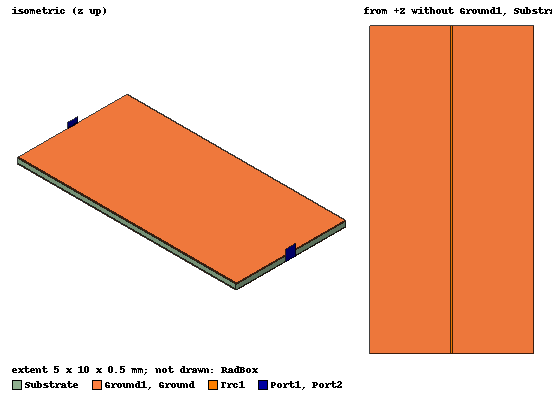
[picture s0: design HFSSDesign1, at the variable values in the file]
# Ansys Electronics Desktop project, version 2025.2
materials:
  vacuum: permittivity=1
  Isola I-Speed IS (R): permittivity=3.3 dielectric_loss_tangent=0.0064
  Krempel Akaflex PCL (tm): permittivity=3.3 dielectric_loss_tangent=0.0052
  Material1: permittivity=3.3 dielectric_loss_tangent=0.003
  copper: permeability=0.999991 conductivity=58000000
  air: permittivity=1.0006 permeability=1.0000004

design HFSSDesign1 (HFSS, HFSS Terminal Network, model units mm)
options: Calculate_Lossy_Dielectrics
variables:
  W_trace = 0.09mm
  d_separation = 1mm
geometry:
  Ground [copper] = box(corner=(0mm, 0mm, 0mm), size=(5mm, 10mm, 0.02mm))
  RadBox [air] = box(corner=(-10mm, 0mm, 0mm), size=(25mm, 10mm, 10mm))
  Port1 = rectangle(corner=(2.5mm-2.5*W_trace, 0mm, 0mm), z_size=0.5mm, x_size=5*W_trace)
  Port2 = rectangle(corner=(2.5mm-2.5*W_trace, 10mm, 0mm), z_size=0.5mm, x_size=5*W_trace)
  Substrate [Material1] = box(corner=(0mm, 0mm, 0.02mm), size=(5mm, 10mm, 0.22mm))
  Trace1 = box(corner=(2.5mm-W_trace/2, 0mm, 0.12mm), size=(W_trace, 10mm, 0.02mm))
  Substrate.subtract(Trace1)
  Trc1 [copper] = box(corner=(2.5mm-W_trace/2, 0mm, 0.12mm), size=(W_trace, 10mm, 0.02mm))
  Ground1 [copper] = box(corner=(0mm, 0mm, 0.24mm), size=(5mm, 10mm, 0.02mm))
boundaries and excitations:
  Rad1: Radiation Objects=RadBox
  Trc1_T1: Terminal port=1 Faces=Trc1.face(-y) TerminalResistance=50ohm
  Trc1_T2: Terminal port=2 Faces=Trc1.face(+y) TerminalResistance=50ohm
  1: Wave Port Faces=Port1.face WavePortType=Terminal NumModes=1 SpecifiedWaveDirectionFlip
  2: Wave Port Faces=Port2.face WavePortType=Terminal NumModes=1
  reference conductors: Ground, Ground1
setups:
  Setup1: HfssDriven Frequency=50GHz MaxDeltaS=0.03 MaximumPasses=20 MinimumPasses=1 MinimumConvergedPasses=1 PercentRefinement=30 BasisOrder=1 PortAccuracy=2 DrivenSolverType="Direct Solver"
    sweep Sweep: 0.001GHz to 50GHz step 0.1GHz; Type=Interpolating InterpTolerance=0.5 InterpMaxSolns=250 InterpUsePortImped=false InterpUsePropConst=false PassivityErrorTolerance=0.0001
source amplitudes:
  1:1: 1V 0deg
  2:1: 0V 0deg
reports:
  Terminal S Parameter Plot1: dB(St(Trc1_T1,Trc1_T1)), dB(St(Trc1_T2,Trc1_T1)), dB(St(Trc1_T1,Trc1_T2)), dB(St(Trc1_T2,Trc1_T2)) vs Freq on Setup1 : Sweep; markers MX1 at x=1.0050615e+10, MX2 at x=4.978308e+10, MY1 at y=-17.7632
  Terminal S Parameter Chart1: St(Trc1_T1,Trc1_T1), St(Trc1_T2,Trc1_T2) on Setup1 : Sweep [Freq=all]
  Terminal Group Delay Plot1: GroupDelay(Trc1_T2,Trc1_T1) vs Freq on Setup1 : Sweep; markers m1 at 10.001GHz, m2 at 49.901GHz
